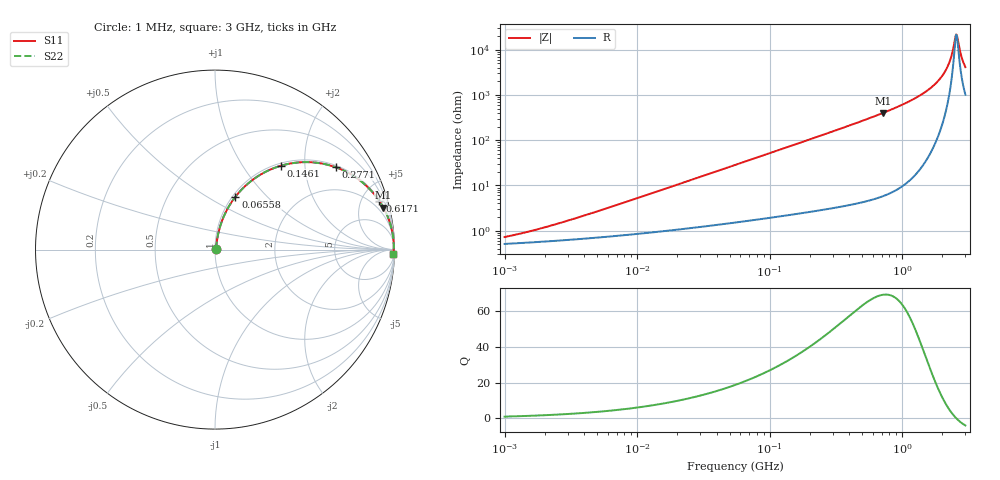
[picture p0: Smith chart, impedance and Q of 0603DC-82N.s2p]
# MHz  S  MA  R  50
!Freq  MagS11  AngS11  MagS21  AngS21  MagS12  AngS12  MagS22  AngS22
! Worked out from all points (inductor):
!   801 points, 1 MHz to 3 GHz, reference 50 ohm
!   read as one part in series: L = 82 nH near 3.862 MHz
!   highest Q = 69.2 at 717.1 MHz (marker M1), where L = 89 nH
!   self-resonance near 2.556 GHz
!   S11 on the Smith chart (normalised r, x): 1 MHz: 1.01, +0.01; 65.58 MHz: 1.03, +0.68; 146.1 MHz: 1.05, +1.51; 277.1 MHz: 1.06, +2.89; 617.1 MHz: 1.10, +6.75; 3 GHz: 21, -80
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1  0.007206 45.1  0.9949 -0.3  0.9949 -0.3  0.007206 45.1
3.823119  0.02063 70.4  0.9933 -1.1  0.9933 -1.1  0.02063 70.4
14.47069  0.07425 78.5  0.9879 -4.2  0.9879 -4.2  0.07425 78.5
54.77226  0.2683 71.4  0.9491 -15.5  0.9491 -15.5  0.2683 71.4
65.58369  0.3161 68.9  0.9337 -18.4  0.9337 -18.4  0.3161 68.9
146.0522  0.5942 51.9  0.7868 -36.4  0.7868 -36.4  0.5942 51.9
209.4008  0.727 42.0  0.6692 -46.6  0.6692 -46.6  0.727 42.0
277.1263  0.8144 34.3  0.5636 -54.5  0.5636 -54.5  0.8144 34.3
413.5554  0.9037 24.4  0.413 -64.6  0.413 -64.6  0.9037 24.4
617.1487  0.955 16.4  0.2829 -72.7  0.2829 -72.7  0.955 16.4
717.1101  0.967 14.0  0.2412 -75.2  0.2412 -75.2  0.967 14.0
792.5923  0.9734 12.4  0.2156 -76.7  0.2156 -76.7  0.9734 12.4
1320.433  0.9919 6.2  0.1072 -82.6  0.1072 -82.6  0.9919 6.2
1837.163  0.9958 2.9  0.05134 -83.9  0.05134 -83.9  0.9958 2.9
2030.54  0.9961 2.0  0.03574 -82.8  0.03574 -82.8  0.9961 2.0
2199.798  0.9961 1.3  0.02359 -79.9  0.02359 -79.9  0.9961 1.3
2335.937  0.996 0.8  0.01475 -73.8  0.01475 -73.8  0.996 0.8
2480.502  0.9957 0.3  0.006733 -49.9  0.006733 -49.9  0.9957 0.3
2556.106  0.9955 0.0  0.004573 -8.3  0.004573 -8.3  0.9955 0.0
2634.014  0.9952 -0.2  0.006111 38.7  0.006111 38.7  0.9952 -0.2
2825.159  0.9945 -0.8  0.01532 68.7  0.01532 68.7  0.9945 -0.8
3000  0.9938 -1.3  0.02414 74.4  0.02414 74.4  0.9938 -1.3
